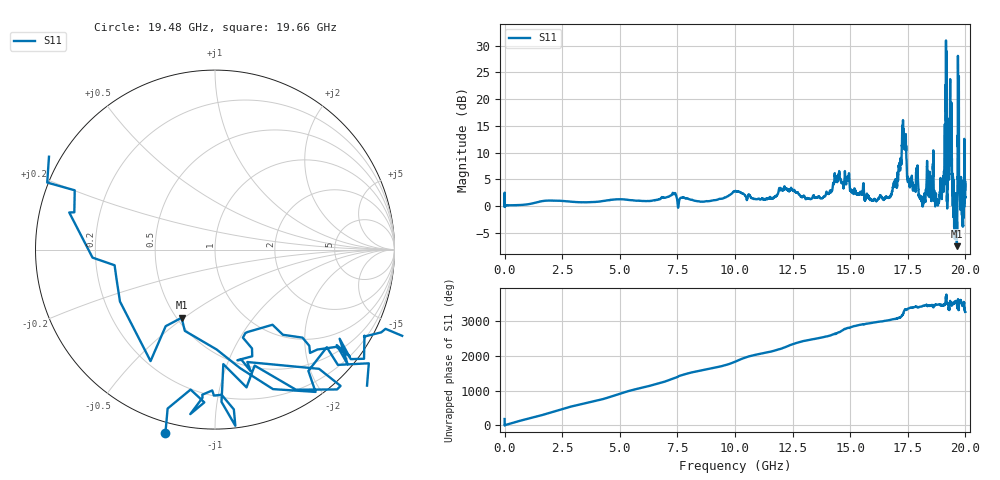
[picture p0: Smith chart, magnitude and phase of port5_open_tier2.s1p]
! Created with skrf 1.8.0 (http://scikit-rf.org).
# GHz S RI R 50.0
!freq ReS11 ImS11
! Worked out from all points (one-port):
!   10001 points, 1 MHz to 20 GHz, reference 50 ohm
!   lowest |S11| = -7.5 dB at 19.63 GHz (marker M1), VSWR 2.47, Z = 26.5 - j24.5 ohm
!   |S11| at or under -10 dB: nowhere
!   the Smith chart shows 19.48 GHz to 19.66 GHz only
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0.001  -1 0.00504
1.540923  0.1512 -1.094
2.500875  -0.3623 1.06
4.112794  1.1 0.1157
5.00075  -1.148 -0.1803
5.868707  1.093 -0.2562
6.536673  -0.1011 1.137
7.500625  0.6352 -0.9117
8.104595  0.2337 1.121
8.866557  -1.111 -0.0946
10.0005  1.222 0.6507
10.61847  -1.271 -0.0905
11.89841  1.24 0.6484
12.50038  -1.397 0.2184
13.62832  1.2 -0.2787
14.32428  -0.6495 1.796
14.58027  -1.738 0.0953
15.00025  0.6055 -1.274
16.32018  -0.3262 1.217
17.06215  -1.967 -0.6921
17.20814  -1.237 -2.379
17.40413  -0.6643 3.7
17.50013  -0.6191 1.574
19.04005  -1.425 -1.175
19.21604  -0.1398 -1.216
19.41603  -1.654 -1.408
19.63002  -0.1862 -0.3797
20  1.115 0.4815
